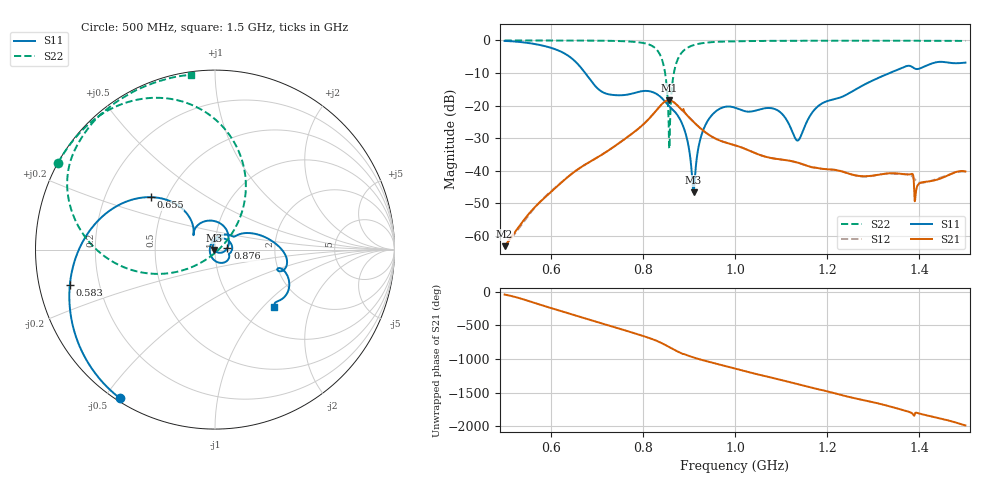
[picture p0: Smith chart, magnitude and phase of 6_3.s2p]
! TOUCHSTONE file generated by CST MICROWAVE STUDIO
! Date and time: Fri Oct  2 16:40:14 2020
! Project name: Scenario_1_Free_Space_out_of_line.cst
! Parameters = {Lambda=346.42; Step_1=17.321; dy1=260.935; dx1=520; L_HA=400; MT=2.54; Rad_Dielectric=30; Rad_Lower=7.3; Rad_Upper=30; a_HA=580; a_WG=246; b_HA=500; b_WG=121; c_HA=0; c_WG=187; d_feed=85; h_feed=15; h_lower=18; h_upper=40}
! Header version: 2018
! Port assignment regex: !\s*Touchstone port\s*([0-9]+)\s*=\s*(CST MWS port|CST DS port)\s*([0-9]+|Zmin|Zmax)\s*\(\"(.*)\"\)(\s*mode\s*([0-9]+))?.*
! Touchstone port assignment:
! Touchstone port 1 = CST MWS port 1 ("")
! Touchstone port 2 = CST MWS port 2 ("")
# GHz S DB R 50
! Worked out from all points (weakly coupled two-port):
!   1003 points, 500 MHz to 1.5 GHz, reference 50 ohm
!   highest |S21| = -18.36 dB at 856 MHz (marker M1); lowest = -63.1 dB at 500 MHz (marker M2)
!   lowest |S11| = -46.6 dB at 910 MHz (marker M3), VSWR 1.01, Z = 49.6 - j0.261 ohm
!   |S11| at or under -10 dB: 674.9 MHz to 1.336 GHz (660.8 MHz wide, 65.7 % of centre)
!   |S22| runs from -33.2 to 0.0 dB; largest |S21 - S12| = 0.0078
!   S11 on the Smith chart (normalised r, x): 500 MHz: 0.01, -0.55; 583 MHz: 0.09, -0.12; 655 MHz: 0.41, +0.30; 876 MHz: 1.15, +0.02; 1.5 GHz: 1.43, -1.15
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0.5  -0.15 -122.5  -63.13 -39.7  -63.09 -39.9  -0.01 151.1
0.583  -1.60 -166.5  -48.76 156.5  -48.61 156.9  -0.02 145.4
0.655  -6.69 140.9  -39.93 6.0  -39.96 6.1  -0.04 139.4
0.667  -8.57 133.2  -38.78 -19.7  -38.80 -19.7  -0.05 138.3
0.715  -16.02 138.7  -34.71 -118.4  -34.71 -118.4  -0.09 132.9
0.779  -16.23 139.8  -28.34 110.1  -28.34 110.1  -0.40 120.5
0.834  -16.82 74.1  -20.66 -20.2  -20.66 -20.2  -3.56 84.5
0.847  -18.58 53.2  -18.83 -64.0  -18.84 -63.9  -8.94 61.5
0.856  -19.99 40.8  -18.36 -98.1  -18.36 -97.9  -25.18 30.5
0.876  -23.11 7.9  -20.08 -169.1  -20.05 -168.4  -5.71 -169.1
0.895  -29.71 -33.5  -22.80 139.3  -22.84 139.0  -2.41 171.6
0.91  -46.60 -145.9  -25.00 104.0  -24.99 104.1  -1.44 162.7
0.924  -30.70 108.5  -26.84 75.1  -26.83 75.1  -0.95 156.8
0.94  -24.85 76.8  -28.63 45.4  -28.64 45.4  -0.64 151.7
1  -20.64 -4.8  -32.16 -59.3  -32.17 -59.4  -0.27 140.2
1.09  -21.27 -57.6  -36.35 146.0  -36.36 146.2  -0.13 130.6
1.135  -30.71 -178.9  -37.44 67.2  -37.52 66.7  -0.11 126.7
1.167  -22.24 74.9  -38.94 12.2  -38.86 12.9  -0.09 124.2
1.334  -10.10 9.9  -40.78 99.3  -40.88 97.3  -0.09 111.5
1.382  -7.93 -16.1  -41.01 2.3  -41.39 4.1  -0.10 107.7
1.394  -8.79 -17.6  -45.40 1.7  -43.19 -16.1  -0.10 106.8
1.5  -6.81 -44.1  -40.22 172.1  -40.22 172.1  -0.14 97.9
